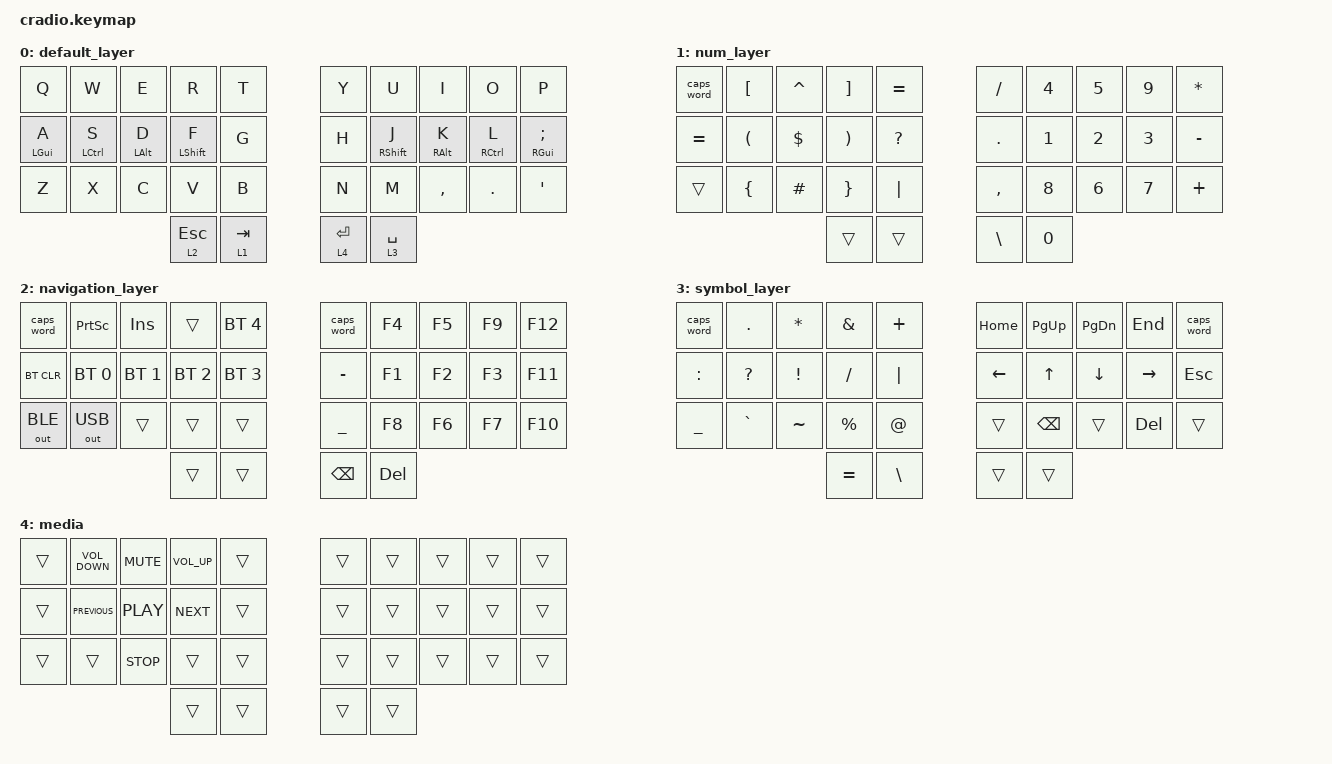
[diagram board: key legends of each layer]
// Copyright (c) 2022 The ZMK Contributors
// SPDX-License-Identifier: MIT

#include <behaviors.dtsi>
#include <dt-bindings/zmk/bt.h>
#include <dt-bindings/zmk/keys.h>
#include <dt-bindings/zmk/outputs.h>

&caps_word { continue-list = <UNDERSCORE MINUS>; };

/ {
    behaviors {
        ht: hold_tap {
            label = "hold_tap";
            compatible = "zmk,behavior-hold-tap";
            #binding-cells = <2>;
            flavor = "tap-preferred";
            tapping-term-ms = <220>;
            quick-tap-ms = <150>;
            global-quick-tap;
            bindings = <&kp>, <&kp>;
        };

        dt: escape_on_double_tap {
            compatible = "zmk,behavior-tap-dance";
            label = "ESCAPE_ON_DOUBLE_TAP";
            #binding-cells = <0>;
            bindings = <&kp UNDER>, <&kp ESCAPE>;
        };
    };
};

/ {
    keymap {
        compatible = "zmk,keymap";

        default_layer {
            bindings = <
&kp Q       &kp W        &kp E       &kp R         &kp T        &kp Y        &kp U         &kp I       &kp O        &kp P
&ht LGUI A  &ht LCTRL S  &ht LALT D  &ht LSHIFT F  &kp G        &kp H        &ht RSHIFT J  &ht RALT K  &ht RCTRL L  &ht RGUI SEMICOLON
&kp Z       &kp X        &kp C       &kp V         &kp B        &kp N        &kp M         &kp COMMA   &kp DOT      &kp SINGLE_QUOTE
                                     &lt 2 ESC     &lt 1 TAB    &lt 4 ENTER  &lt 3 SPACE
            >;
        };

        num_layer {
            bindings = <
&caps_word  &kp LEFT_BRACKET      &kp CARET   &kp RIGHT_BRACKET      &kp EQUAL       &kp SLASH      &kp NUMBER_4  &kp NUMBER_5  &kp NUMBER_9  &kp ASTERISK
&kp EQUAL   &kp LEFT_PARENTHESIS  &kp DOLLAR  &kp RIGHT_PARENTHESIS  &kp QUESTION    &kp PERIOD     &kp NUMBER_1  &kp NUMBER_2  &kp NUMBER_3  &kp MINUS
&trans      &kp LEFT_BRACE        &kp HASH    &kp RIGHT_BRACE        &kp PIPE        &kp COMMA      &kp NUMBER_8  &kp NUMBER_6  &kp NUMBER_7  &kp PLUS
                                              &trans                 &trans          &kp BACKSLASH  &kp NUMBER_0
            >;
        };

        navigation_layer {
            bindings = <
&caps_word    &kp PRINTSCREEN  &kp INSERT    &trans        &bt BT_SEL 4    &caps_word      &kp F4      &kp F5  &kp F9  &kp F12
&bt BT_CLR    &bt BT_SEL 0     &bt BT_SEL 1  &bt BT_SEL 2  &bt BT_SEL 3    &kp MINUS       &kp F1      &kp F2  &kp F3  &kp F11
&out OUT_BLE  &out OUT_USB     &trans        &trans        &trans          &kp UNDERSCORE  &kp F8      &kp F6  &kp F7  &kp F10
                                             &trans        &trans          &kp BACKSPACE   &kp DELETE
            >;
        };

        symbol_layer {
            bindings = <
&caps_word      &kp DOT       &kp ASTERISK     &kp AMPERSAND  &kp PLUS         &kp HOME        &kp PAGE_UP    &kp PAGE_DOWN   &kp END          &caps_word
&kp COLON       &kp QUESTION  &kp EXCLAMATION  &kp SLASH      &kp PIPE         &kp LEFT_ARROW  &kp UP_ARROW   &kp DOWN_ARROW  &kp RIGHT_ARROW  &kp ESCAPE
&kp UNDERSCORE  &kp GRAVE     &kp TILDE        &kp PERCENT    &kp AT_SIGN      &trans          &kp BACKSPACE  &trans          &kp DELETE       &trans
                                               &kp EQUAL      &kp BACKSLASH    &trans          &trans
            >;
        };

        media {
            bindings = <
&trans  &kp C_VOLUME_DOWN  &kp C_MUTE  &kp C_VOLUME_UP  &trans    &trans  &trans  &trans  &trans  &trans
&trans  &kp C_PREVIOUS     &kp C_PLAY  &kp C_NEXT       &trans    &trans  &trans  &trans  &trans  &trans
&trans  &trans             &kp C_STOP  &trans           &trans    &trans  &trans  &trans  &trans  &trans
                                       &trans           &trans    &trans  &trans
            >;
        };
    };
};
